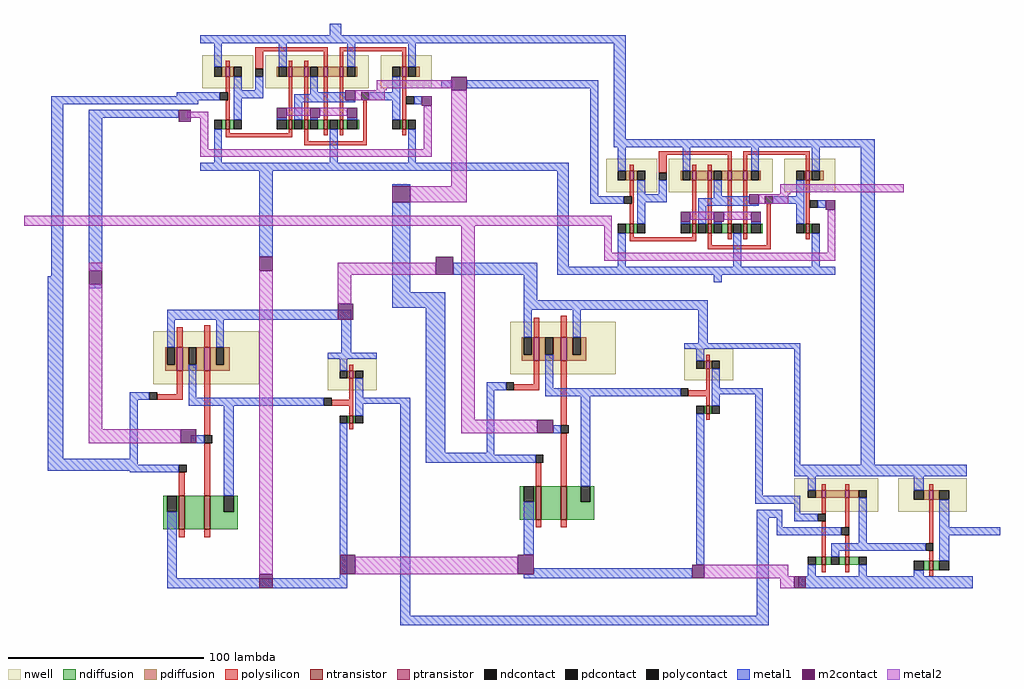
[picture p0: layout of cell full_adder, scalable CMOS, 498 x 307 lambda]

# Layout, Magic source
magic
tech scmos
<< nwell >>
rect 228 -30 254 -13
rect 260 -30 313 -13
rect 319 -30 345 -13
rect 179 -123 233 -96
rect 268 -126 293 -110
<< ntransistor >>
rect 240 -51 242 -46
rect 272 -51 274 -46
rect 280 -51 282 -46
rect 290 -51 292 -46
rect 298 -51 300 -46
rect 330 -51 332 -46
rect 279 -143 281 -139
rect 192 -197 195 -180
rect 205 -197 208 -180
<< ptransistor >>
rect 240 -24 242 -19
rect 272 -24 274 -19
rect 280 -24 282 -19
rect 290 -24 292 -19
rect 298 -24 300 -19
rect 330 -24 332 -19
rect 191 -116 194 -104
rect 205 -116 208 -104
rect 279 -120 281 -116
<< ndiffusion >>
rect 238 -51 240 -46
rect 242 -51 244 -46
rect 271 -51 272 -46
rect 274 -51 275 -46
rect 279 -51 280 -46
rect 282 -51 283 -46
rect 287 -51 290 -46
rect 292 -51 293 -46
rect 297 -51 298 -46
rect 300 -51 302 -46
rect 307 -51 308 -46
rect 329 -51 330 -46
rect 332 -51 333 -46
rect 278 -143 279 -139
rect 281 -143 282 -139
rect 184 -188 186 -180
rect 191 -188 192 -180
rect 184 -197 192 -188
rect 195 -197 205 -180
rect 208 -188 215 -180
rect 220 -188 222 -180
rect 208 -197 222 -188
<< pdiffusion >>
rect 238 -24 240 -19
rect 242 -24 244 -19
rect 266 -24 267 -19
rect 271 -24 272 -19
rect 274 -24 280 -19
rect 282 -24 283 -19
rect 287 -24 290 -19
rect 292 -24 298 -19
rect 300 -24 302 -19
rect 306 -24 307 -19
rect 329 -24 330 -19
rect 332 -24 333 -19
rect 337 -24 339 -19
rect 185 -113 186 -104
rect 190 -113 191 -104
rect 185 -116 191 -113
rect 194 -113 197 -104
rect 201 -113 205 -104
rect 194 -116 205 -113
rect 208 -113 211 -104
rect 215 -113 218 -104
rect 208 -116 218 -113
rect 278 -120 279 -116
rect 281 -120 282 -116
<< ndcontact >>
rect 234 -51 238 -46
rect 244 -51 248 -46
rect 266 -51 271 -46
rect 275 -51 279 -46
rect 283 -51 287 -46
rect 293 -51 297 -46
rect 302 -51 307 -46
rect 325 -51 329 -46
rect 333 -51 337 -46
rect 274 -143 278 -139
rect 282 -143 286 -139
rect 186 -188 191 -180
rect 215 -188 220 -180
<< pdcontact >>
rect 234 -24 238 -19
rect 244 -24 248 -19
rect 267 -24 271 -19
rect 283 -24 287 -19
rect 302 -24 306 -19
rect 325 -24 329 -19
rect 333 -24 337 -19
rect 186 -113 190 -104
rect 197 -113 201 -104
rect 211 -113 215 -104
rect 274 -120 278 -116
rect 282 -120 286 -116
<< polysilicon >>
rect 255 -11 292 -9
rect 240 -19 242 -16
rect 255 -20 259 -11
rect 272 -19 274 -16
rect 280 -19 282 -16
rect 290 -19 292 -11
rect 298 -11 332 -9
rect 298 -19 300 -11
rect 330 -19 332 -11
rect 240 -32 242 -24
rect 241 -36 242 -32
rect 240 -46 242 -36
rect 272 -46 274 -24
rect 280 -46 282 -24
rect 290 -46 292 -24
rect 298 -46 300 -24
rect 240 -53 242 -51
rect 272 -53 274 -51
rect 240 -55 274 -53
rect 280 -57 282 -51
rect 290 -54 292 -51
rect 298 -54 300 -51
rect 310 -57 312 -36
rect 330 -46 332 -24
rect 330 -54 332 -51
rect 280 -59 312 -57
rect 191 -104 194 -94
rect 205 -104 208 -93
rect 279 -116 281 -113
rect 191 -128 194 -116
rect 181 -131 194 -128
rect 205 -149 208 -116
rect 279 -131 281 -120
rect 270 -134 281 -131
rect 279 -139 281 -134
rect 279 -146 281 -143
rect 192 -180 195 -168
rect 205 -180 208 -153
rect 192 -201 195 -197
rect 205 -201 208 -197
<< polycontact >>
rect 255 -24 259 -20
rect 237 -36 241 -32
rect 309 -36 313 -32
rect 332 -38 336 -34
rect 177 -131 181 -127
rect 266 -134 270 -130
rect 205 -153 209 -149
rect 192 -168 196 -164
<< metal1 >>
rect 87 47 93 56
rect 136 46 238 50
rect 144 23 149 27
rect 157 23 224 27
rect 9 19 20 21
rect -55 15 20 19
rect -55 -73 -49 15
rect -57 -166 -49 -73
rect -36 8 10 12
rect -36 -70 -29 8
rect 51 -63 58 -15
rect 136 -19 209 -15
rect 119 -27 128 -26
rect -36 -79 -29 -77
rect 119 -81 128 -35
rect 150 -72 193 -66
rect 203 -68 209 -19
rect 220 -32 224 23
rect 232 -3 238 46
rect 232 -7 365 -3
rect 234 -19 238 -7
rect 267 -19 271 -7
rect 302 -19 306 -7
rect 333 -19 337 -7
rect 244 -31 248 -24
rect 255 -31 259 -24
rect 220 -36 237 -32
rect 244 -35 259 -31
rect 283 -32 287 -24
rect 283 -33 301 -32
rect 244 -46 248 -35
rect 275 -36 301 -33
rect 325 -32 329 -24
rect 313 -36 329 -32
rect 275 -37 306 -36
rect 266 -46 271 -45
rect 275 -46 279 -37
rect 283 -46 287 -45
rect 302 -46 307 -45
rect 325 -46 329 -36
rect 336 -38 340 -34
rect 234 -68 238 -51
rect 293 -68 297 -51
rect 333 -68 337 -51
rect 203 -72 345 -68
rect 119 -89 146 -81
rect -57 -172 -11 -166
rect 123 -246 128 -135
rect 136 -163 146 -89
rect 186 -85 193 -72
rect 283 -76 287 -72
rect 186 -90 280 -85
rect 186 -104 190 -90
rect 211 -104 215 -90
rect 275 -107 280 -90
rect 268 -110 327 -107
rect 167 -131 177 -127
rect 197 -130 201 -113
rect 274 -116 278 -110
rect 282 -130 286 -120
rect 167 -163 171 -131
rect 197 -134 266 -130
rect 282 -133 308 -130
rect 201 -153 205 -149
rect 136 -164 171 -163
rect 136 -168 192 -164
rect 215 -180 220 -134
rect 282 -139 286 -133
rect 186 -215 191 -188
rect 274 -220 278 -143
rect 304 -185 308 -133
rect 324 -169 327 -110
rect 358 -174 365 -7
rect 304 -189 327 -185
rect 191 -225 272 -222
rect 186 -227 272 -225
rect 305 -196 318 -192
rect 305 -246 311 -196
rect 315 -201 318 -196
rect 324 -194 327 -189
rect 324 -198 333 -194
rect 315 -205 347 -201
rect 414 -205 429 -201
rect 123 -251 311 -246
<< m2contact >>
rect 149 22 157 29
rect 10 6 16 12
rect 51 -70 58 -63
rect 119 -35 128 -27
rect -36 -77 -29 -70
rect 141 -72 150 -63
rect 301 -36 306 -31
rect 266 -45 271 -40
rect 283 -45 288 -40
rect 302 -45 307 -40
rect 340 -39 345 -34
rect 91 -95 99 -87
rect 11 -158 19 -151
rect 92 -225 100 -215
rect 51 -232 58 -225
rect 193 -153 201 -146
rect 183 -225 191 -215
rect 272 -227 278 -220
rect 324 -232 330 -226
<< metal2 >>
rect 149 -27 157 22
rect 128 -35 157 -27
rect 317 -30 380 -26
rect 317 -31 322 -30
rect 306 -36 321 -31
rect -69 -47 231 -42
rect 271 -44 283 -40
rect 288 -44 302 -40
rect -36 -70 -29 -66
rect -36 -151 -29 -77
rect -36 -158 11 -151
rect 51 -225 58 -70
rect 91 -72 141 -66
rect 91 -87 98 -72
rect 154 -146 161 -47
rect 227 -61 231 -47
rect 341 -61 345 -39
rect 227 -65 345 -61
rect 154 -153 193 -146
rect 100 -225 183 -216
rect 278 -226 321 -220
rect 278 -227 324 -226
rect 317 -232 324 -227
use 2_input_OR  2_input_OR_0
transform 1 0 347 0 1 -208
box -23 -24 68 39
use AND  AND_0
transform 1 0 45 0 1 -136
box -60 -96 78 46
use XOR  XOR_0
transform 1 0 34 0 1 13
box -20 -32 116 37
<< end >>

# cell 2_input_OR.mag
magic
tech scmos
<< nwell >>
rect -23 15 20 32
rect 30 15 65 32
<< ntransistor >>
rect -9 -12 -7 -8
rect 3 -12 5 -8
rect 46 -15 48 -10
<< ptransistor >>
rect -9 22 -7 26
rect 3 22 5 26
rect 46 21 48 26
<< ndiffusion >>
rect -12 -12 -9 -8
rect -7 -12 -4 -8
rect 0 -12 3 -8
rect 5 -12 10 -8
rect 43 -15 46 -10
rect 48 -15 51 -10
<< pdiffusion >>
rect -12 22 -9 26
rect -7 22 3 26
rect 5 22 10 26
rect 43 21 46 26
rect 48 21 51 26
<< ndcontact >>
rect -16 -12 -12 -8
rect -4 -12 0 -8
rect 10 -12 14 -8
rect 38 -15 43 -10
rect 51 -15 56 -10
<< pdcontact >>
rect -16 22 -12 26
rect 10 22 14 26
rect 38 21 43 26
rect 51 21 56 26
<< polysilicon >>
rect -9 26 -7 29
rect 3 26 5 29
rect 46 26 48 29
rect -9 14 -7 22
rect -9 -8 -7 10
rect 3 7 5 22
rect 3 -8 5 3
rect 46 -1 48 21
rect 46 -10 48 -5
rect -9 -16 -7 -12
rect 3 -16 5 -12
rect 46 -18 48 -15
<< polycontact >>
rect -11 10 -7 14
rect 1 3 5 7
rect 44 -5 48 -1
<< metal1 >>
rect -23 33 65 39
rect -16 26 -12 33
rect 38 26 43 33
rect -14 10 -11 14
rect -1 3 1 7
rect 10 -1 14 22
rect 51 7 56 21
rect 51 3 68 7
rect -4 -5 44 -1
rect -4 -8 0 -5
rect 51 -10 56 3
rect -16 -18 -12 -12
rect 10 -18 14 -12
rect 38 -18 43 -15
rect -21 -24 68 -18
<< end >>

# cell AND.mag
magic
tech scmos
<< nwell >>
rect -48 8 6 35
rect 41 5 66 21
<< ntransistor >>
rect 52 -12 54 -8
rect -35 -66 -32 -49
rect -22 -66 -19 -49
<< ptransistor >>
rect -36 15 -33 27
rect -22 15 -19 27
rect 52 11 54 15
<< ndiffusion >>
rect 51 -12 52 -8
rect 54 -12 55 -8
rect -43 -57 -41 -49
rect -36 -57 -35 -49
rect -43 -66 -35 -57
rect -32 -66 -22 -49
rect -19 -57 -12 -49
rect -7 -57 -5 -49
rect -19 -66 -5 -57
<< pdiffusion >>
rect -42 18 -41 27
rect -37 18 -36 27
rect -42 15 -36 18
rect -33 18 -30 27
rect -26 18 -22 27
rect -33 15 -22 18
rect -19 18 -16 27
rect -12 18 -9 27
rect -19 15 -9 18
rect 51 11 52 15
rect 54 11 55 15
<< ndcontact >>
rect 47 -12 51 -8
rect 55 -12 59 -8
rect -41 -57 -36 -49
rect -12 -57 -7 -49
<< pdcontact >>
rect -41 18 -37 27
rect -30 18 -26 27
rect -16 18 -12 27
rect 47 11 51 15
rect 55 11 59 15
<< polysilicon >>
rect -36 27 -33 37
rect -22 27 -19 38
rect 52 15 54 18
rect -36 3 -33 15
rect -46 0 -33 3
rect -22 -18 -19 15
rect 52 0 54 11
rect 43 -3 54 0
rect 52 -8 54 -3
rect 52 -15 54 -12
rect -35 -49 -32 -37
rect -22 -49 -19 -22
rect -35 -70 -32 -66
rect -22 -70 -19 -66
<< polycontact >>
rect -50 0 -46 4
rect 39 -3 43 1
rect -22 -22 -18 -18
rect -35 -37 -31 -33
<< metal1 >>
rect -41 41 53 46
rect -41 27 -37 41
rect -16 27 -12 41
rect 48 24 53 41
rect 41 21 66 24
rect -60 0 -50 4
rect -30 1 -26 18
rect 47 15 51 21
rect 55 1 59 11
rect -60 -33 -56 0
rect -30 -3 39 1
rect 55 -2 78 1
rect -29 -22 -22 -18
rect -60 -37 -35 -33
rect -12 -49 -7 -3
rect 55 -8 59 -2
rect -41 -91 -36 -57
rect 47 -91 51 -12
rect -41 -96 51 -91
<< end >>

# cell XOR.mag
magic
tech scmos
<< nwell >>
rect -12 10 14 27
rect 20 10 73 27
rect 79 10 105 27
<< ntransistor >>
rect 0 -11 2 -6
rect 32 -11 34 -6
rect 40 -11 42 -6
rect 50 -11 52 -6
rect 58 -11 60 -6
rect 90 -11 92 -6
<< ptransistor >>
rect 0 16 2 21
rect 32 16 34 21
rect 40 16 42 21
rect 50 16 52 21
rect 58 16 60 21
rect 90 16 92 21
<< ndiffusion >>
rect -2 -11 0 -6
rect 2 -11 4 -6
rect 31 -11 32 -6
rect 34 -11 35 -6
rect 39 -11 40 -6
rect 42 -11 43 -6
rect 47 -11 50 -6
rect 52 -11 53 -6
rect 57 -11 58 -6
rect 60 -11 62 -6
rect 67 -11 68 -6
rect 89 -11 90 -6
rect 92 -11 93 -6
<< pdiffusion >>
rect -2 16 0 21
rect 2 16 4 21
rect 26 16 27 21
rect 31 16 32 21
rect 34 16 40 21
rect 42 16 43 21
rect 47 16 50 21
rect 52 16 58 21
rect 60 16 62 21
rect 66 16 67 21
rect 89 16 90 21
rect 92 16 93 21
rect 97 16 99 21
<< ndcontact >>
rect -6 -11 -2 -6
rect 4 -11 8 -6
rect 26 -11 31 -6
rect 35 -11 39 -6
rect 43 -11 47 -6
rect 53 -11 57 -6
rect 62 -11 67 -6
rect 85 -11 89 -6
rect 93 -11 97 -6
<< pdcontact >>
rect -6 16 -2 21
rect 4 16 8 21
rect 27 16 31 21
rect 43 16 47 21
rect 62 16 66 21
rect 85 16 89 21
rect 93 16 97 21
<< polysilicon >>
rect 15 29 52 31
rect 0 21 2 24
rect 15 20 19 29
rect 32 21 34 24
rect 40 21 42 24
rect 50 21 52 29
rect 58 29 92 31
rect 58 21 60 29
rect 90 21 92 29
rect 0 8 2 16
rect 1 4 2 8
rect 0 -6 2 4
rect 32 -6 34 16
rect 40 -6 42 16
rect 50 -6 52 16
rect 58 -6 60 16
rect 0 -13 2 -11
rect 32 -13 34 -11
rect 0 -15 34 -13
rect 40 -17 42 -11
rect 50 -14 52 -11
rect 58 -14 60 -11
rect 70 -17 72 4
rect 90 -6 92 16
rect 90 -14 92 -11
rect 40 -19 72 -17
<< polycontact >>
rect 15 16 19 20
rect -3 4 1 8
rect 69 4 73 8
rect 92 2 96 6
<< metal1 >>
rect -13 33 105 37
rect -6 21 -2 33
rect 27 21 31 33
rect 62 21 66 33
rect 93 21 97 33
rect 4 9 8 16
rect 15 9 19 16
rect -18 4 -3 8
rect 4 5 19 9
rect 43 8 47 16
rect 43 7 61 8
rect 4 -6 8 5
rect 35 4 61 7
rect 85 8 89 16
rect 73 4 89 8
rect 35 3 66 4
rect 26 -6 31 -5
rect 35 -6 39 3
rect 43 -6 47 -5
rect 62 -6 67 -5
rect 85 -6 89 4
rect 96 2 100 6
rect -6 -28 -2 -11
rect 53 -28 57 -11
rect 93 -28 97 -11
rect -13 -32 105 -28
<< m2contact >>
rect 61 4 66 9
rect 26 -5 31 0
rect 43 -5 48 0
rect 62 -5 67 0
rect 100 1 105 6
<< metal2 >>
rect 77 10 116 14
rect 77 9 82 10
rect 66 4 81 9
rect -20 -5 -9 -2
rect 31 -4 43 0
rect 48 -4 62 0
rect -13 -21 -9 -5
rect 101 -21 105 1
rect -13 -25 105 -21
<< end >>
